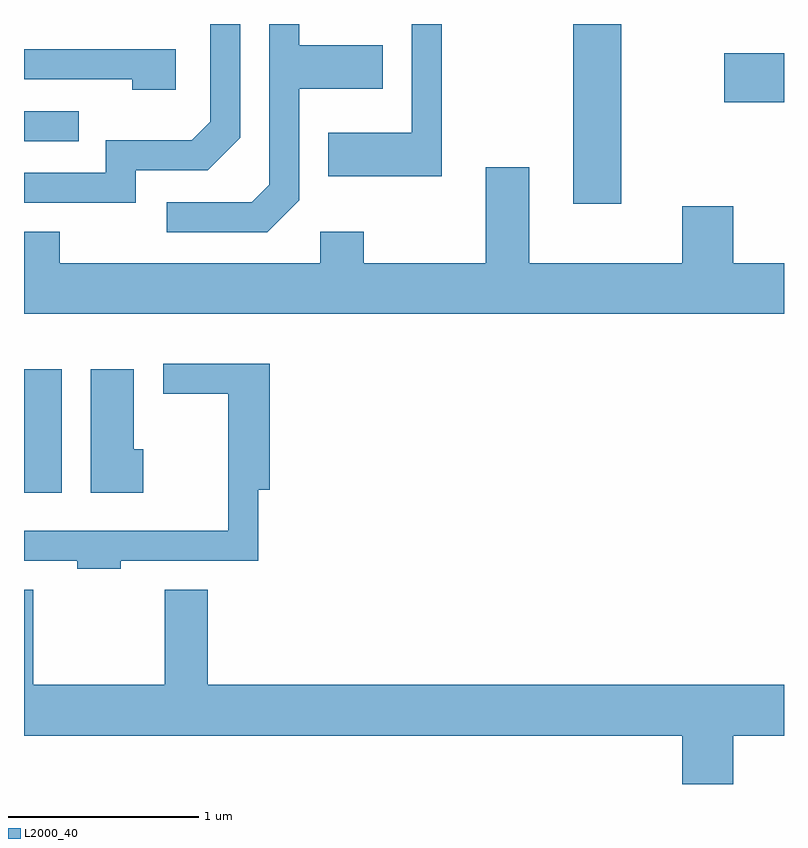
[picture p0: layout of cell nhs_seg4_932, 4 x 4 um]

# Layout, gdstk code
import gdstk
lib = gdstk.Library(unit=1e-6, precision=1e-09)
def R(c, l, rs):  # rectangles x0, y0, x1, y1
    for r in rs: c.add(gdstk.rectangle(r[:2], r[2:], *l))
def P(c, l, *ps):  # polygons
    for p in ps: c.add(gdstk.Polygon(p, *l))
L2000_40 = (2000, 40)

nhs_seg4_932 = lib.new_cell('nhs_seg4_932')
R(nhs_seg4_932, L2000_40, [(211.611,1351.516,211.809,1352.164), (214.501,1353.036,214.754,1353.982), (211.611,1353.366,211.898,1353.524), (215.296,1353.571,215.611,1353.829)])
P(nhs_seg4_932, L2000_40, [(213.059,1353.054),(213.059,1353.641),(213.499,1353.641),(213.499,1353.869),(213.059,1353.869),(213.059,1353.982),(212.901,1353.982),(212.901,1353.137),(212.809,1353.044),(212.363,1353.044),(212.363,1352.886),(212.892,1352.886)],
  [(212.199,1353.211),(212.577,1353.211),(212.749,1353.384),(212.749,1353.982),(212.591,1353.982),(212.591,1353.467),(212.494,1353.369),(212.041,1353.369),(212.041,1353.199),(211.611,1353.199),(211.611,1353.041),(212.199,1353.041)],
  [(213.809,1353.982),(213.651,1353.982),(213.651,1353.409),(213.211,1353.409),(213.211,1353.181),(213.809,1353.181)],
  [(212.409,1353.849),(211.611,1353.849),(211.611,1353.691),(212.181,1353.691),(212.181,1353.636),(212.409,1353.636)],
  [(215.611,1352.724),(215.344,1352.724),(215.344,1353.024),(215.076,1353.024),(215.076,1352.724),(214.269,1352.724),(214.269,1353.229),(214.041,1353.229),(214.041,1352.724),(213.399,1352.724),(213.399,1352.889),(213.171,1352.889),(213.171,1352.724),(211.799,1352.724),(211.799,1352.889),(211.611,1352.889),(211.611,1352.456),(215.611,1352.456)],
  [(212.119,1351.156),(212.844,1351.156),(212.844,1351.531),(212.904,1351.531),(212.904,1352.194),(212.343,1352.194),(212.343,1352.036),(212.686,1352.036),(212.686,1351.314),(211.611,1351.314),(211.611,1351.156),(211.891,1351.156),(211.891,1351.116),(212.119,1351.116)],
  [(212.239,1351.744),(212.189,1351.744),(212.189,1352.164),(211.961,1352.164),(211.961,1351.516),(212.239,1351.516)],
  [(215.344,1350.236),(215.611,1350.236),(215.611,1350.504),(212.579,1350.504),(212.579,1351.004),(212.351,1351.004),(212.351,1350.504),(211.659,1350.504),(211.659,1351.004),(211.611,1351.004),(211.611,1350.236),(215.076,1350.236),(215.076,1349.982),(215.344,1349.982)])

lib.write_gds('nhs_seg4_932.gds')
